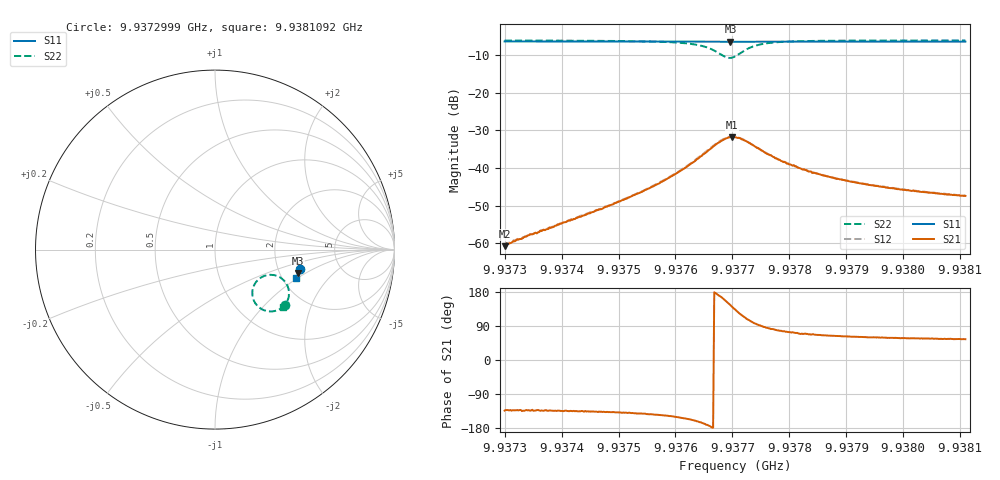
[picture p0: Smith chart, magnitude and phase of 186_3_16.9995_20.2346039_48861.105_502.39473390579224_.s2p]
#  HZ  S  RI  R  50.00
! Rohde & Schwarz Vector Network Analyzer
! Rohde-Schwarz,ZNB20-2Port,1311601062101988,3.16
! Created: UTC 3/20/2024, 11:00:22 PM
! freq[Hz]  re:S11  im:S11  re:S21  im:S21  re:S12  im:S12  re:S22  im:S22
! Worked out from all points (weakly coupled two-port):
!   401 points, 9.9372999 GHz to 9.9381092 GHz, reference 50 ohm
!   highest |S21| = -31.79 dB at 9.9376985 GHz (marker M1); lowest = -60.8 dB at 9.9372999 GHz (marker M2)
!   lowest |S11| = -6.4 dB at 9.9376965 GHz (marker M3), VSWR 2.84, Z = 125 - j42.6 ohm
!   |S11| at or under -10 dB: nowhere
!   |S22| runs from -10.7 to -6.0 dB; largest |S21 - S12| = 0.0012
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9.93729991e9  0.4717 -0.1065  -0.000626 -0.000659  -0.000642 -0.000719  0.3888 -0.3106
9.93734443e9  0.4708 -0.1095  -0.000909 -0.000946  -0.000907 -0.000925  0.3846 -0.3142
9.93743548e9  0.4687 -0.1156  -0.0016 -0.00163  -0.00165 -0.00165  0.3735 -0.3234
9.93752046e9  0.4669 -0.1215  -0.00313 -0.00268  -0.00322 -0.00261  0.3559 -0.3341
9.93757104e9  0.4655 -0.1249  -0.00507 -0.00356  -0.00525 -0.00356  0.3363 -0.3412
9.93760948e9  0.4644 -0.1275  -0.00812 -0.00431  -0.00836 -0.00428  0.3092 -0.3447
9.93765197e9  0.4625 -0.1303  -0.0154 -0.00305  -0.0159 -0.00278  0.2501 -0.3252
9.93766613e9  0.4616 -0.1311  -0.0192 -0.000399  -0.0197 0.000316  0.2236 -0.2975
9.93767827e9  0.461 -0.1313  -0.0217 0.00452  -0.0223 0.00538  0.2085 -0.2555
9.93768839e9  0.4605 -0.1314  -0.0225 0.01  -0.0226 0.0111  0.213 -0.2103
9.93769648e9  0.4604 -0.1313  -0.021 0.0148  -0.0208 0.0158  0.2331 -0.1754
9.93769851e9  0.4605 -0.1313  -0.0203 0.0158  -0.02 0.017  0.2402 -0.1681
9.93770458e9  0.4606 -0.1313  -0.0177 0.0186  -0.0172 0.0196  0.2653 -0.1509
9.93771469e9  0.4609 -0.1314  -0.0123 0.0213  -0.0117 0.0218  0.3108 -0.1405
9.93772886e9  0.4613 -0.1323  -0.00582 0.0209  -0.00501 0.021  0.3619 -0.1544
9.93775111e9  0.4616 -0.1341  0.000169 0.0171  0.000549 0.0172  0.3999 -0.1941
9.93778551e9  0.4613 -0.1369  0.00275 0.0121  0.00318 0.0121  0.4123 -0.2386
9.93784014e9  0.4601 -0.1409  0.00325 0.00794  0.00359 0.00807  0.408 -0.2738
9.93789882e9  0.4588 -0.1449  0.00314 0.00601  0.0033 0.00599  0.4004 -0.2924
9.9379757e9  0.4568 -0.1501  0.00284 0.00462  0.00295 0.00463  0.3922 -0.3066
9.93802831e9  0.4555 -0.1535  0.00265 0.00405  0.00277 0.00404  0.3872 -0.3134
9.93810924e9  0.4534 -0.1589  0.00244 0.00347  0.00255 0.00348  0.3807 -0.3214
